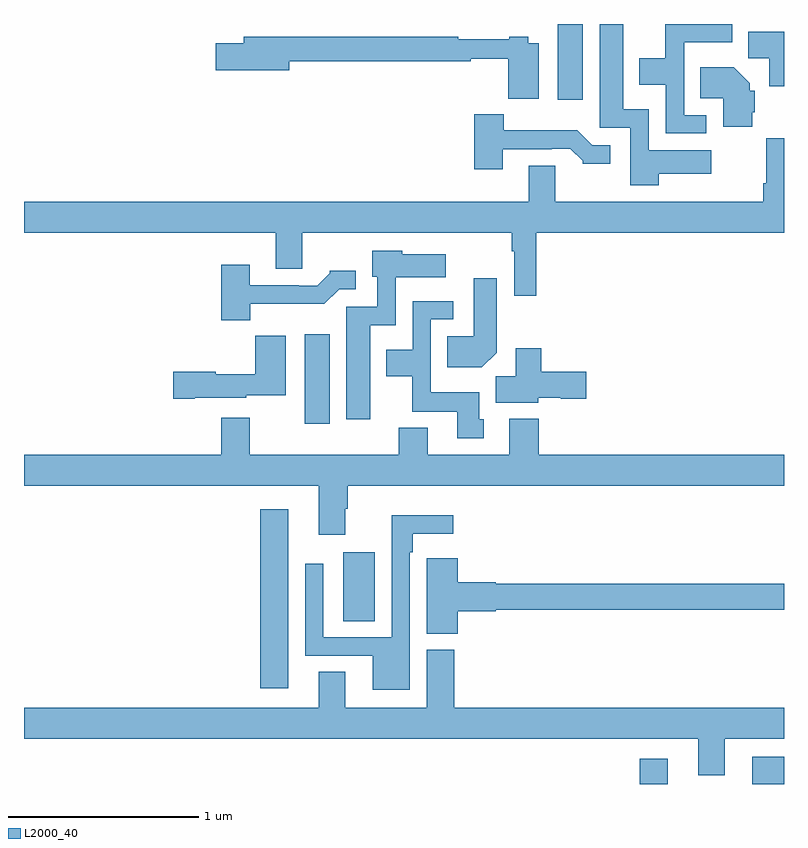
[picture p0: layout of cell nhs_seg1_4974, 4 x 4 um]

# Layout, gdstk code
import gdstk
lib = gdstk.Library(unit=1e-6, precision=1e-09)
def R(c, l, rs):  # rectangles x0, y0, x1, y1
    for r in rs: c.add(gdstk.rectangle(r[:2], r[2:], *l))
def P(c, l, *ps):  # polygons
    for p in ps: c.add(gdstk.Polygon(p, *l))
L2000_40 = (2000, 40)

nhs_seg1_4974 = lib.new_cell('nhs_seg1_4974')
R(nhs_seg1_4974, L2000_40, [(384.242,514.199,384.388,514.333), (384.833,514.199,385,514.342), (382.244,514.704,382.39,515.644), (382.679,515.056,382.846,515.419), (382.478,516.096,382.609,516.565), (383.81,517.8,383.941,518.199)])
P(nhs_seg1_4974, L2000_40, [(384.341,517.412),(384.616,517.412),(384.616,517.534),(384.288,517.534),(384.288,517.75),(384.154,517.75),(384.154,518.199),(384.029,518.199),(384.029,517.653),(384.192,517.653),(384.192,517.35),(384.341,517.35)],
  [(384.592,517.719),(384.474,517.719),(384.474,518.102),(384.727,518.102),(384.727,518.199),(384.376,518.199),(384.376,518.02),(384.239,518.02),(384.239,517.88),(384.378,517.88),(384.378,517.623),(384.592,517.623)],
  [(385,518.158),(384.812,518.158),(384.812,518.02),(384.923,518.02),(384.923,517.871),(385,517.871)],
  [(383.71,518.098),(383.655,518.098),(383.655,518.131),(383.555,518.131),(383.555,518.118),(383.285,518.118),(383.285,518.131),(382.157,518.131),(382.157,518.097),(382.008,518.097),(382.008,517.955),(382.396,517.955),(382.396,518.002),(383.35,518.002),(383.35,518.017),(383.548,518.017),(383.548,517.805),(383.71,517.805)],
  [(384.833,517.734),(384.846,517.734),(384.846,517.848),(384.82,517.848),(384.82,517.887),(384.736,517.972),(384.559,517.972),(384.559,517.808),(384.68,517.808),(384.68,517.658),(384.833,517.658)],
  [(383.521,517.539),(383.777,517.539),(383.777,517.542),(383.876,517.542),(383.94,517.478),(383.94,517.463),(384.085,517.463),(384.085,517.56),(383.991,517.56),(383.913,517.639),(383.524,517.639),(383.524,517.723),(383.369,517.723),(383.369,517.434),(383.521,517.434)],
  [(383.696,517.1),(385,517.1),(385,517.597),(384.907,517.597),(384.907,517.36),(384.892,517.36),(384.892,517.264),(383.797,517.264),(383.797,517.454),(383.657,517.454),(383.657,517.264),(381,517.264),(381,517.1),(382.325,517.1),(382.325,516.91),(382.465,516.91),(382.465,517.1),(383.568,517.1),(383.568,517.004),(383.58,517.004),(383.58,516.768),(383.696,516.768)],
  [(382.822,516.614),(382.956,516.614),(382.956,516.866),(383.221,516.866),(383.221,516.988),(382.992,516.988),(382.992,517.006),(382.832,517.006),(382.832,516.87),(382.86,516.87),(382.86,516.711),(382.697,516.711),(382.697,516.12),(382.822,516.12)],
  [(382.192,516.726),(382.581,516.726),(382.659,516.804),(382.747,516.804),(382.747,516.901),(382.608,516.901),(382.608,516.886),(382.544,516.822),(382.445,516.822),(382.445,516.825),(382.189,516.825),(382.189,516.931),(382.037,516.931),(382.037,516.641),(382.192,516.641)],
  [(383.488,516.47),(383.488,516.862),(383.366,516.862),(383.366,516.556),(383.227,516.556),(383.227,516.392),(383.41,516.392)],
  [(383.419,516.12),(383.395,516.12),(383.395,516.262),(383.142,516.262),(383.142,516.645),(383.26,516.645),(383.26,516.741),(383.046,516.741),(383.046,516.484),(382.907,516.484),(382.907,516.344),(383.044,516.344),(383.044,516.158),(383.279,516.158),(383.279,516.018),(383.419,516.018)],
  [(381.898,516.233),(382.17,516.233),(382.17,516.245),(382.378,516.245),(382.378,516.559),(382.216,516.559),(382.216,516.355),(382.008,516.355),(382.008,516.368),(381.786,516.368),(381.786,516.226),(381.898,516.226)],
  [(383.706,516.233),(383.826,516.233),(383.826,516.226),(383.959,516.226),(383.959,516.368),(383.723,516.368),(383.723,516.493),(383.588,516.493),(383.588,516.344),(383.483,516.344),(383.483,516.206),(383.706,516.206)],
  [(382.69,515.648),(382.703,515.648),(382.703,515.768),(385,515.768),(385,515.932),(383.708,515.932),(383.708,516.121),(383.555,516.121),(383.555,515.932),(383.125,515.932),(383.125,516.073),(382.973,516.073),(382.973,515.932),(382.189,515.932),(382.189,516.127),(382.037,516.127),(382.037,515.932),(381,515.932),(381,515.768),(382.55,515.768),(382.55,515.511),(382.69,515.511)],
  [(383.031,515.42),(383.047,515.42),(383.047,515.516),(383.26,515.516),(383.26,515.614),(382.935,515.614),(382.935,514.971),(382.575,514.971),(382.575,515.359),(382.479,515.359),(382.479,514.875),(382.835,514.875),(382.835,514.694),(383.031,514.694)],
  [(383.282,515.108),(383.484,515.108),(383.484,515.116),(385,515.116),(385,515.252),(383.484,515.252),(383.484,515.26),(383.282,515.26),(383.282,515.386),(383.121,515.386),(383.121,515.273),(383.12,515.273),(383.12,514.99),(383.282,514.99)],
  [(384.688,514.436),(385,514.436),(385,514.6),(383.264,514.6),(383.264,514.905),(383.12,514.905),(383.12,514.6),(382.69,514.6),(382.69,514.79),(382.55,514.79),(382.55,514.6),(381,514.6),(381,514.436),(384.548,514.436),(384.548,514.246),(384.688,514.246)])

lib.write_gds('nhs_seg1_4974.gds')
